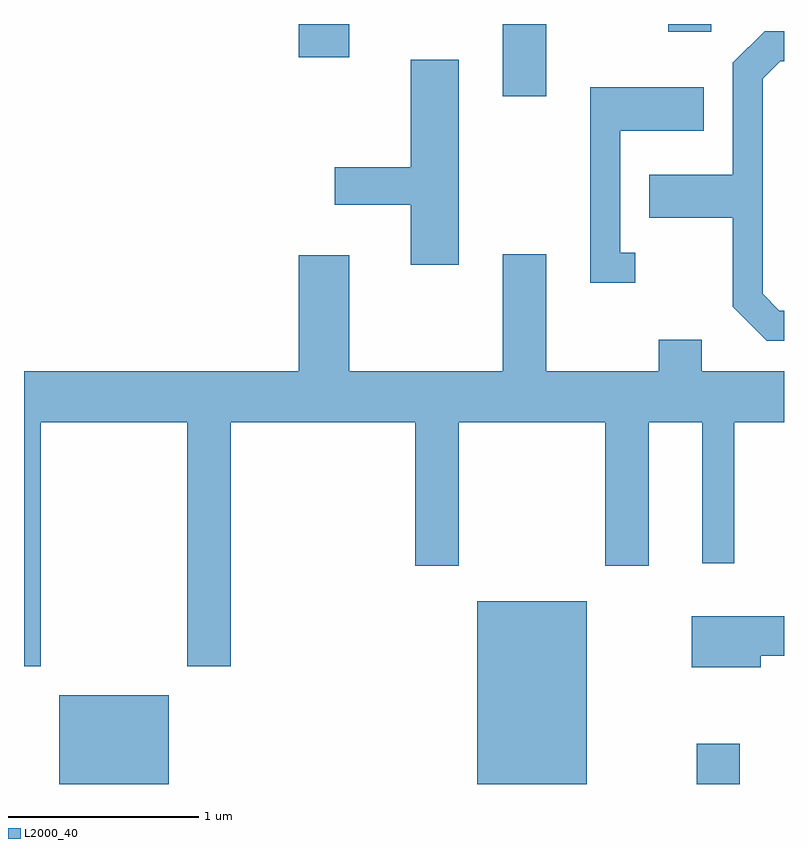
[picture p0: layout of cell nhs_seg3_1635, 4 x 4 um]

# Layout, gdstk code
import gdstk
lib = gdstk.Library(unit=1e-6, precision=1e-09)
def R(c, l, rs):  # rectangles x0, y0, x1, y1
    for r in rs: c.add(gdstk.rectangle(r[:2], r[2:], *l))
def P(c, l, *ps):  # polygons
    for p in ps: c.add(gdstk.Polygon(p, *l))
L2000_40 = (2000, 40)

nhs_seg3_1635 = lib.new_cell('nhs_seg3_1635')
R(nhs_seg3_1635, L2000_40, [(233.796,1121.892,234.374,1122.359), (235.996,1121.892,236.574,1122.854), (237.151,1121.892,237.379,1122.104), (236.131,1125.511,236.359,1125.892), (235.056,1125.716,235.324,1125.892), (237.001,1125.851,237.229,1125.892)])
P(nhs_seg3_1635, L2000_40, [(237.611,1124.384),(237.587,1124.384),(237.499,1124.472),(237.499,1125.604),(237.592,1125.696),(237.611,1125.696),(237.611,1125.854),(237.509,1125.854),(237.341,1125.687),(237.341,1125.099),(236.901,1125.099),(236.901,1124.871),(237.341,1124.871),(237.341,1124.404),(237.519,1124.226),(237.611,1124.226)],
  [(235.899,1125.704),(235.646,1125.704),(235.646,1125.139),(235.246,1125.139),(235.246,1124.941),(235.646,1124.941),(235.646,1124.626),(235.899,1124.626)],
  [(236.828,1124.689),(236.749,1124.689),(236.749,1125.331),(237.189,1125.331),(237.189,1125.559),(236.591,1125.559),(236.591,1124.531),(236.828,1124.531)],
  [(233.699,1123.796),(234.471,1123.796),(234.471,1122.511),(234.699,1122.511),(234.699,1123.796),(235.671,1123.796),(235.671,1123.041),(235.899,1123.041),(235.899,1123.796),(236.671,1123.796),(236.671,1123.041),(236.899,1123.041),(236.899,1123.796),(237.181,1123.796),(237.181,1123.053),(237.349,1123.053),(237.349,1123.796),(237.611,1123.796),(237.611,1124.064),(237.179,1124.064),(237.179,1124.229),(236.951,1124.229),(236.951,1124.064),(236.359,1124.064),(236.359,1124.679),(236.131,1124.679),(236.131,1124.064),(235.324,1124.064),(235.324,1124.674),(235.056,1124.674),(235.056,1124.064),(233.611,1124.064),(233.611,1122.511),(233.699,1122.511)],
  [(237.489,1122.566),(237.611,1122.566),(237.611,1122.774),(237.126,1122.774),(237.126,1122.506),(237.489,1122.506)])

lib.write_gds('nhs_seg3_1635.gds')
